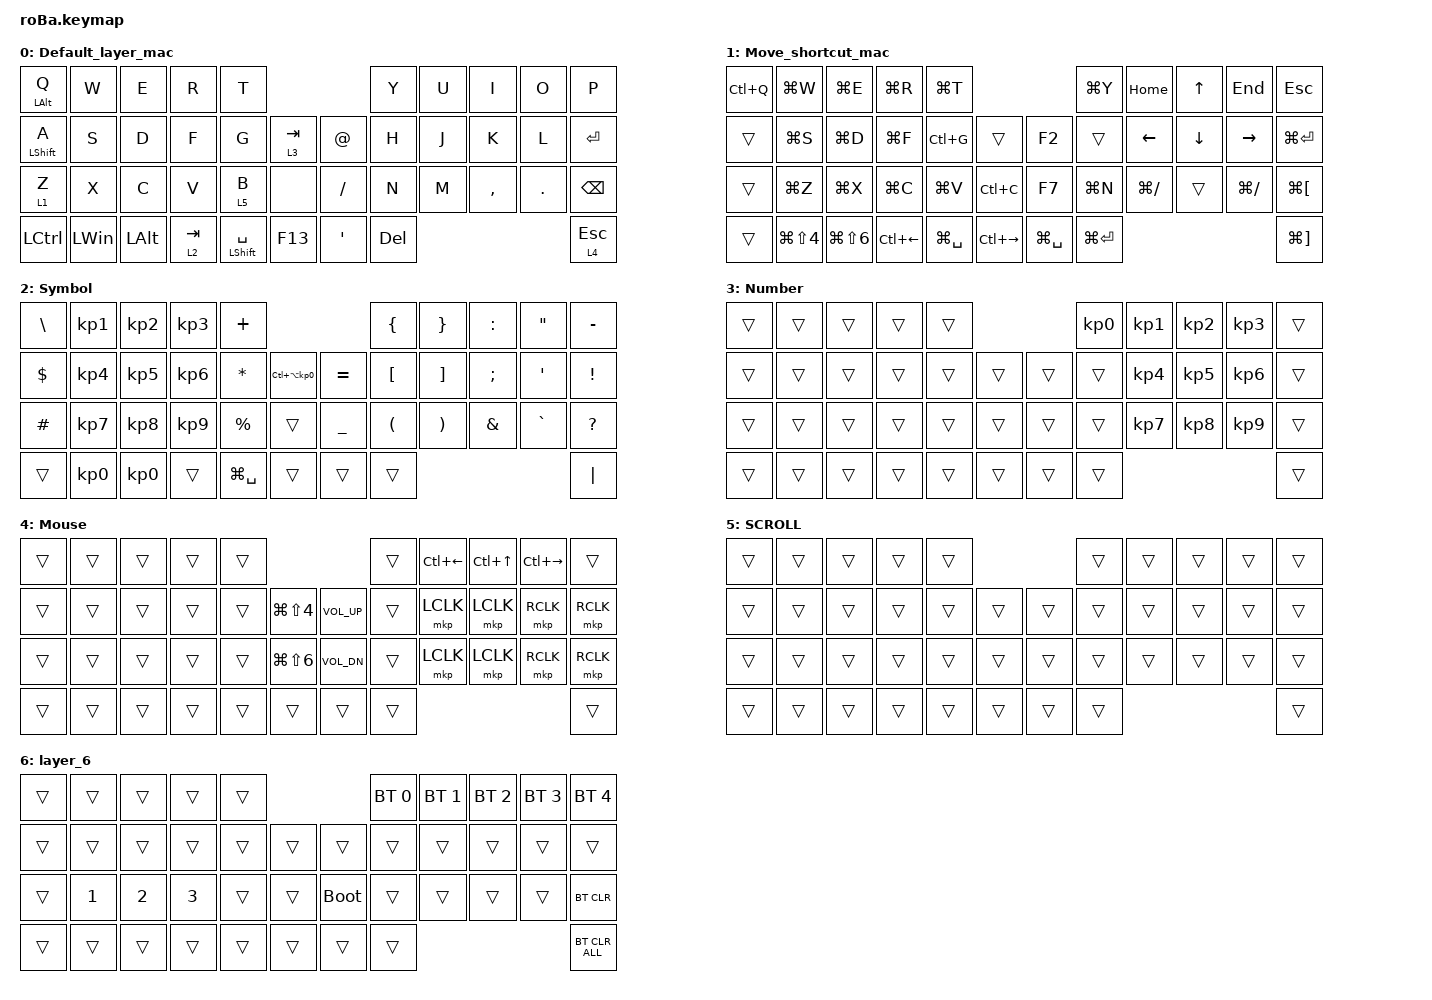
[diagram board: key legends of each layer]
#include <behaviors.dtsi>
#include <dt-bindings/zmk/bt.h>
#include <dt-bindings/zmk/keys.h>
#include <dt-bindings/zmk/pointing.h>

&mt {
    flavor = "balanced";
    tapping-term-ms = <300>;
    quick-tap-ms = <0>;
};

&lt {
    flavor = "balanced";
    tapping-term-ms = <300>;
    quick-tap-ms = <0>;
};

&trackball {
    automouse-layer = <4>;
    scroll-layers = <5>;

    // arrows {
    //     layers = <4>;
    //     bindings =
    //         <&kp RIGHT_ARROW>,
    //         <&kp LEFT_ARROW>,
    //         <&kp UP_ARROW>,
    //         <&kp DOWN_ARROW>;
    //     tick = <10>;
    //     wait-ms = <5>;
    //     tap-ms = <5>;
    // };
};

/ {
    combos {
        compatible = "zmk,combos";

        tab {
            bindings = <&kp TAB>;
            key-positions = <11 12>;
        };

        shift_tab {
            bindings = <&kp LS(TAB)>;
            key-positions = <12 13>;
        };

        muhennkann {
            bindings = <&to_layer_0 INT_MUHENKAN>;
            key-positions = <11 10>;
        };

        double_quotation {
            bindings = <&kp DOUBLE_QUOTES>;
            key-positions = <20 40>;
        };

        eq {
            bindings = <&kp EQUAL>;
            key-positions = <24 25>;
        };
    };

    macros {
        to_layer_0: to_layer_0 {
            compatible = "zmk,behavior-macro-one-param";
            #binding-cells = <1>;
            bindings = <&to 0 &macro_param_1to1 &kp MACRO_PLACEHOLDER>;
            label = "TO_LAYER_0";
        };
    };

    keymap {
        compatible = "zmk,keymap";

        Default_layer_mac {
            bindings = <
&mt LEFT_ALT Q    &kp W         &kp E         &kp R      &kp T                                             &kp Y    &kp U  &kp I      &kp O    &kp P
&mt LEFT_SHIFT A  &kp S         &kp D         &kp F      &kp G                 &lt 3 TAB      &kp AT_SIGN  &kp H    &kp J  &kp K      &kp L    &kp ENTER
&lt 1 Z           &kp X         &kp C         &kp V      &lt 5 B               &none          &kp SLASH    &kp N    &kp M  &kp COMMA  &kp DOT  &kp BACKSPACE
&kp LEFT_CONTROL  &kp LEFT_WIN  &kp LEFT_ALT  &lt 2 TAB  &mt LEFT_SHIFT SPACE  &kp F13        &kp SQT      &kp DEL                             &lt 4 ESCAPE
            >;
        };

        Move_shortcut_mac {
            bindings = <
&kp LC(Q)  &kp LG(W)             &kp LG(E)             &kp LG(R)           &kp LG(T)                                              &kp LG(Y)       &kp HOME        &kp UP_ARROW    &kp END          &kp ESCAPE
&trans     &kp LG(S)             &kp LG(D)             &kp LG(F)           &kp LC(G)      &trans                   &kp F2         &trans          &kp LEFT_ARROW  &kp DOWN_ARROW  &kp RIGHT_ARROW  &kp LG(RETURN)
&trans     &kp LG(Z)             &kp LG(X)             &kp LG(C)           &kp LG(V)      &kp LC(C)                &kp F7         &kp LG(N)       &kp LG(SLASH)   &trans          &kp LG(SLASH)    &kp LG(LEFT_BRACKET)
&trans     &kp LG(LS(NUMBER_4))  &kp LG(LS(NUMBER_6))  &kp LC(LEFT_ARROW)  &kp LG(SPACE)  &kp LC(RIGHT_ARROW)      &kp LG(SPACE)  &kp LG(RETURN)                                                   &kp LG(RIGHT_BRACKET)
            >;
        };

        Symbol {
            bindings = <
&kp BACKSLASH  &kp KP_NUMBER_1  &kp KP_NUMBER_2  &kp KP_NUMBER_3  &kp PLUS                                                    &kp LEFT_BRACE        &kp RIGHT_BRACE        &kp COLON      &kp DOUBLE_QUOTES  &kp MINUS
&kp DOLLAR     &kp KP_NUMBER_4  &kp KP_NUMBER_5  &kp KP_NUMBER_6  &kp ASTERISK   &kp LC(LA(KP_NUMBER_0))      &kp EQUAL       &kp LEFT_BRACKET      &kp RIGHT_BRACKET      &kp SEMICOLON  &kp SQT            &kp EXCLAMATION
&kp HASH       &kp KP_NUMBER_7  &kp KP_NUMBER_8  &kp KP_NUMBER_9  &kp PERCENT    &trans                       &kp UNDERSCORE  &kp LEFT_PARENTHESIS  &kp RIGHT_PARENTHESIS  &kp AMPERSAND  &kp GRAVE          &kp QUESTION
&trans         &kp KP_NUMBER_0  &kp KP_NUMBER_0  &trans           &kp LG(SPACE)  &trans                       &trans          &trans                                                                         &kp PIPE
            >;
        };

        Number {
            bindings = <
&trans  &trans  &trans  &trans  &trans                      &kp KP_NUMBER_0  &kp KP_NUMBER_1  &kp KP_NUMBER_2  &kp KP_NUMBER_3  &trans
&trans  &trans  &trans  &trans  &trans  &trans      &trans  &trans           &kp KP_NUMBER_4  &kp KP_NUMBER_5  &kp KP_NUMBER_6  &trans
&trans  &trans  &trans  &trans  &trans  &trans      &trans  &trans           &kp KP_NUMBER_7  &kp KP_NUMBER_8  &kp KP_NUMBER_9  &trans
&trans  &trans  &trans  &trans  &trans  &trans      &trans  &trans                                                              &trans
            >;
        };

        Mouse {
            bindings = <
&trans  &trans  &trans  &trans  &trans                                             &trans  &kp LC(LEFT_ARROW)  &kp LC(UP_ARROW)  &kp LC(RIGHT_ARROW)  &trans
&trans  &trans  &trans  &trans  &trans  &kp LG(LS(NUMBER_4))      &kp C_VOLUME_UP  &trans  &mkp LCLK           &mkp LCLK         &mkp RCLK            &mkp RCLK
&trans  &trans  &trans  &trans  &trans  &kp LG(LS(NUMBER_6))      &kp C_VOL_DN     &trans  &mkp LCLK           &mkp LCLK         &mkp RCLK            &mkp RCLK
&trans  &trans  &trans  &trans  &trans  &trans                    &trans           &trans                                                             &trans
            >;
        };

        SCROLL {
            bindings = <
&trans  &trans  &trans  &trans  &trans                      &trans  &trans  &trans  &trans  &trans
&trans  &trans  &trans  &trans  &trans  &trans      &trans  &trans  &trans  &trans  &trans  &trans
&trans  &trans  &trans  &trans  &trans  &trans      &trans  &trans  &trans  &trans  &trans  &trans
&trans  &trans  &trans  &trans  &trans  &trans      &trans  &trans                          &trans
            >;
        };

        layer_6 {
            bindings = <
&trans  &trans        &trans        &trans        &trans                           &bt BT_SEL 0  &bt BT_SEL 1  &bt BT_SEL 2  &bt BT_SEL 3  &bt BT_SEL 4
&trans  &trans        &trans        &trans        &trans  &trans      &trans       &trans        &trans        &trans        &trans        &trans
&trans  &kp NUMBER_1  &kp NUMBER_2  &kp NUMBER_3  &trans  &trans      &bootloader  &trans        &trans        &trans        &trans        &bt BT_CLR
&trans  &trans        &trans        &trans        &trans  &trans      &trans       &trans                                                  &bt BT_CLR_ALL
            >;
        };
    };
};
